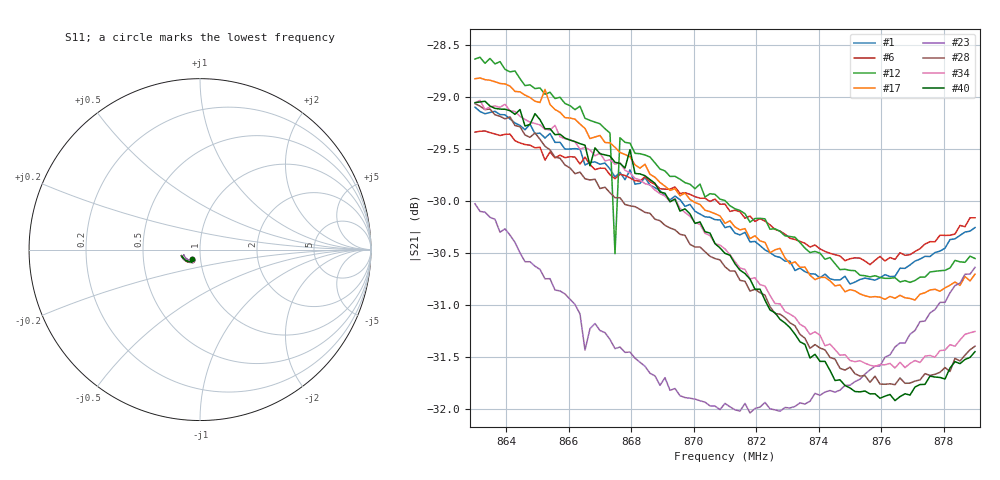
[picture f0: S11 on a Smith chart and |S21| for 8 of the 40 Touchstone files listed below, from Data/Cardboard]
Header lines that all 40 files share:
# HZ S RI R 50
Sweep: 863 MHz to 879 MHz
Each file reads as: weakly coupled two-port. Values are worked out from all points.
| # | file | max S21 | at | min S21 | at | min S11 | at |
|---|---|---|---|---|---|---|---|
| 1 | co3s12.s2p | -29.10 dB | 863 MHz | -30.8 dB | 875 MHz | -23.1 dB | 865.56 MHz |
| 2 | co3s13.s2p | -29.29 dB | 863 MHz | -31.0 dB | 874.52 MHz | -23.2 dB | 865.56 MHz |
| 3 | co3s14.s2p | -28.88 dB | 863.16 MHz | -30.7 dB | 875.8 MHz | -23.1 dB | 865.4 MHz |
| 4 | co3s15.s2p | -28.68 dB | 866.84 MHz | -30.8 dB | 874.52 MHz | -23.6 dB | 865.56 MHz |
| 5 | co3s16.s2p | -28.15 dB | 865.56 MHz | -30.9 dB | 875 MHz | -23.4 dB | 863.96 MHz |
| 6 | co3s17.s2p | -29.33 dB | 863.32 MHz | -30.6 dB | 875.64 MHz | -23.2 dB | 864.12 MHz |
| 7 | co3s20.s2p | -29.48 dB | 864.76 MHz | -30.8 dB | 875.16 MHz | -23.2 dB | 864.76 MHz |
| 8 | co4s1.s2p | -28.58 dB | 863.32 MHz | -30.5 dB | 876.44 MHz | -22.8 dB | 865.24 MHz |
| 9 | co4s2.s2p | -28.68 dB | 863 MHz | -30.6 dB | 875.48 MHz | -23.0 dB | 865.24 MHz |
| 10 | co4s3.s2p | -28.79 dB | 863 MHz | -30.7 dB | 876.92 MHz | -23.0 dB | 864.92 MHz |
| 11 | co4s4.s2p | -28.63 dB | 863.16 MHz | -30.8 dB | 876.6 MHz | -23.0 dB | 864.44 MHz |
| 12 | co4s5.s2p | -28.62 dB | 863.16 MHz | -30.8 dB | 876.92 MHz | -23.0 dB | 863.48 MHz |
| 13 | co4s6.s2p | -28.88 dB | 863 MHz | -30.8 dB | 876.76 MHz | -23.4 dB | 864.44 MHz |
| 14 | co4s7.s2p | -28.77 dB | 863.16 MHz | -31.0 dB | 877.24 MHz | -23.2 dB | 865.24 MHz |
| 15 | co4s9.s2p | -28.81 dB | 863.16 MHz | -30.7 dB | 876.44 MHz | -23.0 dB | 863.96 MHz |
| 16 | co4s10.s2p | -28.39 dB | 863 MHz | -31.3 dB | 875.64 MHz | -23.1 dB | 864.92 MHz |
| 17 | co4s11.s2p | -28.82 dB | 863.16 MHz | -30.9 dB | 877.08 MHz | -23.0 dB | 864.44 MHz |
| 18 | co4s12.s2p | -28.97 dB | 863 MHz | -30.7 dB | 875.48 MHz | -22.9 dB | 863.96 MHz |
| 19 | co4s13.s2p | -28.59 dB | 863 MHz | -30.7 dB | 876.44 MHz | -22.9 dB | 863.96 MHz |
| 20 | co4s14.s2p | -28.27 dB | 863 MHz | -30.5 dB | 876.76 MHz | -22.8 dB | 865.24 MHz |
| 21 | co5s2.s2p | -29.82 dB | 863.16 MHz | -31.6 dB | 872.44 MHz | -26.5 dB | 863.96 MHz |
| 22 | co5s4.s2p | -30.06 dB | 863 MHz | -31.8 dB | 873.72 MHz | -25.5 dB | 864.6 MHz |
| 23 | co5s5.s2p | -30.03 dB | 863 MHz | -32.0 dB | 871.8 MHz | -23.7 dB | 865.56 MHz |
| 24 | co5s7.s2p | -30.57 dB | 879 MHz | -32.8 dB | 872.76 MHz | -24.5 dB | 866.04 MHz |
| 25 | co5s8.s2p | -29.83 dB | 863 MHz | -32.9 dB | 873.88 MHz | -23.7 dB | 867 MHz |
| 26 | co5s9.s2p | -30.20 dB | 863 MHz | -32.3 dB | 871.32 MHz | -24.3 dB | 864.44 MHz |
| 27 | co6s0.s2p | -29.07 dB | 863 MHz | -32.2 dB | 875.16 MHz | -23.2 dB | 865.4 MHz |
| 28 | co6s1.s2p | -29.06 dB | 863 MHz | -31.8 dB | 876.44 MHz | -23.5 dB | 864.92 MHz |
| 29 | co6s2.s2p | -29.07 dB | 863.16 MHz | -32.2 dB | 875.96 MHz | -23.3 dB | 865.4 MHz |
| 30 | co6s3.s2p | -28.99 dB | 863.16 MHz | -31.8 dB | 876.44 MHz | -23.4 dB | 864.44 MHz |
| 31 | co6s4.s2p | -29.14 dB | 863 MHz | -31.8 dB | 876.76 MHz | -23.3 dB | 864.44 MHz |
| 32 | co6s5.s2p | -29.23 dB | 863.16 MHz | -32.0 dB | 876.44 MHz | -23.4 dB | 866.2 MHz |
| 33 | co6s7.s2p | -29.05 dB | 863 MHz | -31.8 dB | 876.44 MHz | -23.6 dB | 865.88 MHz |
| 34 | co6s8.s2p | -29.03 dB | 863.16 MHz | -31.6 dB | 876.44 MHz | -23.5 dB | 865.56 MHz |
| 35 | co7s0.s2p | -29.34 dB | 863 MHz | -31.2 dB | 875.64 MHz | -23.3 dB | 865.56 MHz |
| 36 | co7s1.s2p | -28.95 dB | 863.16 MHz | -31.9 dB | 876.6 MHz | -23.2 dB | 865.24 MHz |
| 37 | co7s2.s2p | -29.04 dB | 863 MHz | -31.7 dB | 876.12 MHz | -23.3 dB | 865.4 MHz |
| 38 | co7s3.s2p | -29.22 dB | 863 MHz | -32.0 dB | 876.44 MHz | -23.4 dB | 865.4 MHz |
| 39 | co7s4.s2p | -29.11 dB | 863 MHz | -32.0 dB | 875.16 MHz | -23.5 dB | 866.04 MHz |
| 40 | co7s5.s2p | -29.04 dB | 863.32 MHz | -31.9 dB | 876.44 MHz | -23.4 dB | 864.92 MHz |
